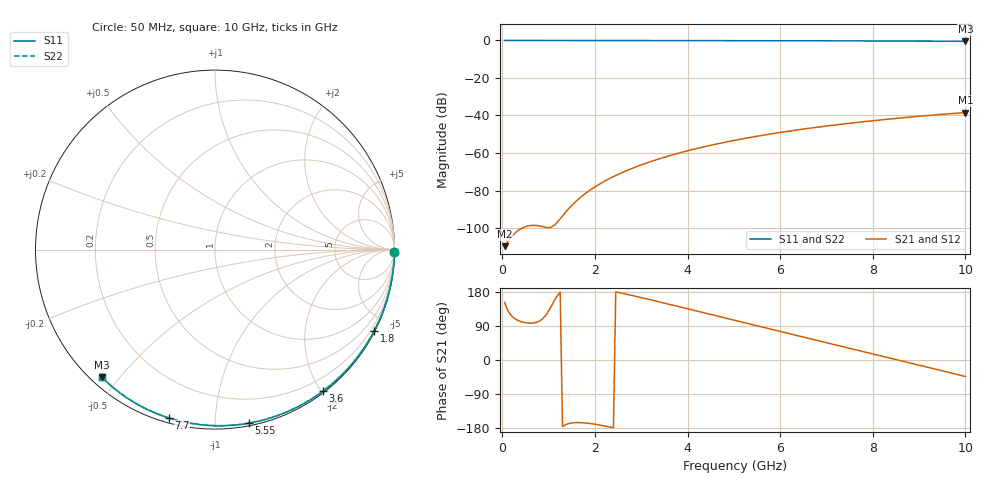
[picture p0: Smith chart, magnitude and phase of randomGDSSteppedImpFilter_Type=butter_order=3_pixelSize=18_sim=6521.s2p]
! freq	dB(S11)	phase(S11)	dB(S12)	phase(S12)
!  dB(S21)	phase(S21)	dB(S22)	phase(S22)
!S-par simulation data
#  GHz  S  DB  R 50
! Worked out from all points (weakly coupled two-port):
!   200 points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, 50 MHz to 10 GHz, reference 50 ohm
!   highest |S21| = -38.43 dB at 10 GHz (marker M1); lowest = -109.7 dB at 50 MHz (marker M2)
!   lowest |S11| = -0.4 dB at 10 GHz (marker M3), VSWR 38.62, Z = 1.55 - j22.4 ohm
!   |S11| at or under -10 dB: nowhere
!   |S22| runs from -0.4 to 0.0 dB; largest |S21 - S12| = 0
!   S11 on the Smith chart (normalised r, x): 50 MHz: open; 1.8 GHz: 0.04, -4.17; 3.6 GHz: 0.02, -2.01; 5.55 GHz: 0.02, -1.22; 7.7 GHz: 0.02, -0.76; 10 GHz: 0.03, -0.45
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0.05  -0.00 -0.8  -109.67 152.0  -109.67 152.0  -0.00 -0.8
0.9  -0.02 -13.6  -99.50 112.7  -99.50 112.7  -0.02 -13.6
1.75  -0.03 -26.3  -82.42 -165.7  -82.42 -165.7  -0.03 -26.3
1.8  -0.03 -27.0  -81.47 -166.2  -81.47 -166.2  -0.03 -27.0
1.85  -0.04 -27.7  -80.57 -166.9  -80.57 -166.9  -0.04 -27.7
1.9  -0.04 -28.5  -79.70 -167.7  -79.70 -167.7  -0.04 -28.5
2.05  -0.04 -30.7  -77.30 -170.6  -77.30 -170.6  -0.04 -30.7
2.25  -0.04 -33.6  -74.48 -175.1  -74.48 -175.1  -0.04 -33.6
2.45  -0.05 -36.5  -71.99 179.9  -71.99 179.9  -0.05 -36.5
2.65  -0.05 -39.4  -69.76 174.5  -69.76 174.5  -0.05 -39.4
3  -0.06 -44.4  -66.35 164.7  -66.35 164.7  -0.06 -44.4
3.4  -0.07 -50.0  -63.01 153.0  -63.01 153.0  -0.07 -50.0
3.6  -0.07 -52.8  -61.52 147.2  -61.52 147.2  -0.07 -52.8
4.3  -0.09 -62.4  -57.01 126.3  -57.01 126.3  -0.09 -62.4
5.05  -0.11 -72.4  -53.08 103.8  -53.08 103.8  -0.11 -72.4
5.55  -0.13 -78.8  -50.84 88.8  -50.84 88.8  -0.13 -78.8
6.1  -0.15 -85.8  -48.67 72.4  -48.67 72.4  -0.15 -85.8
6.7  -0.18 -93.2  -46.57 54.5  -46.57 54.5  -0.18 -93.2
7.7  -0.24 -105.3  -43.59 25.0  -43.59 25.0  -0.24 -105.3
8.35  -0.29 -112.9  -41.91 5.9  -41.91 5.9  -0.29 -112.9
9.15  -0.36 -122.1  -40.09 -17.8  -40.09 -17.8  -0.36 -122.1
10  -0.45 -131.7  -38.43 -43.6  -38.43 -43.6  -0.45 -131.7
